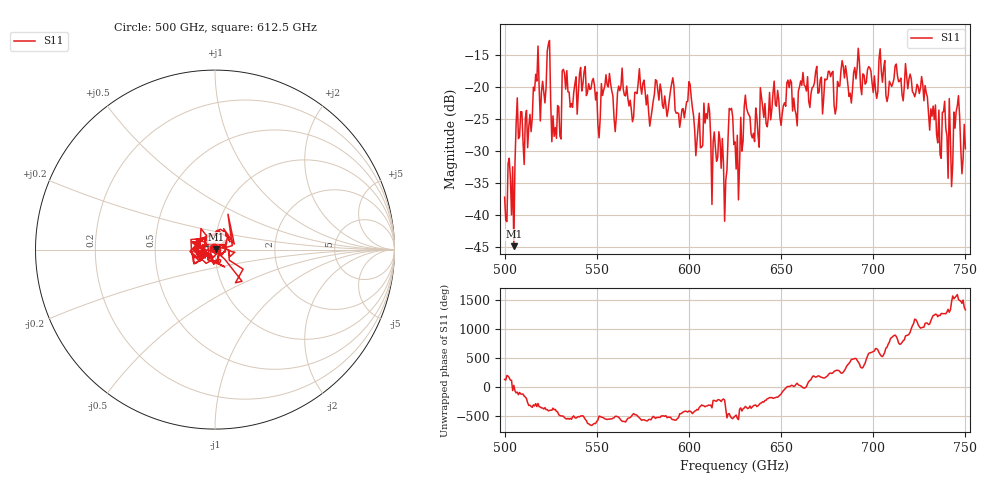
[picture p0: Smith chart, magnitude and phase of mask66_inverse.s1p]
!Created with skrf (http://scikit-rf.org).
# GHz S MA R 50.0
!freq magS11 angS11
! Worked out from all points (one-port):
!   401 points, 500 GHz to 750 GHz, reference 50 ohm
!   lowest |S11| = -44.9 dB at 505 GHz (marker M1), VSWR 1.01, Z = 50.5 + j0.213 ohm
!   |S11| at or under -10 dB: start of sweep to end of sweep
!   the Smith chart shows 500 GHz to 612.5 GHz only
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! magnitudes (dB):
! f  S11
! 500 GHz  -37.2
! 505 GHz  -44.9
! 507.5 GHz  -28.1
! 513.8 GHz  -24.3
! 516.9 GHz  -18.0
! 520.6 GHz  -19.1
! 523.8 GHz  -13.3
! 526.9 GHz  -27.7
! 531.2 GHz  -17.5
! 560 GHz  -27.0
! 562.5 GHz  -20.5
! 593.8 GHz  -24.0
! 609.4 GHz  -24.1
! 618.8 GHz  -31.9
! 622.5 GHz  -23.5
! 625 GHz  -28.5
! 656.2 GHz  -23.7
! 676.9 GHz  -18.4
! 680 GHz  -23.2
! 683.8 GHz  -16.8
! 687.5 GHz  -20.9
! 691.2 GHz  -17.1
! 718.8 GHz  -20.2
! 735.6 GHz  -23.6
! 738.8 GHz  -22.2
! 741.9 GHz  -28.0
! 745 GHz  -23.8
! 750 GHz  -29.6
